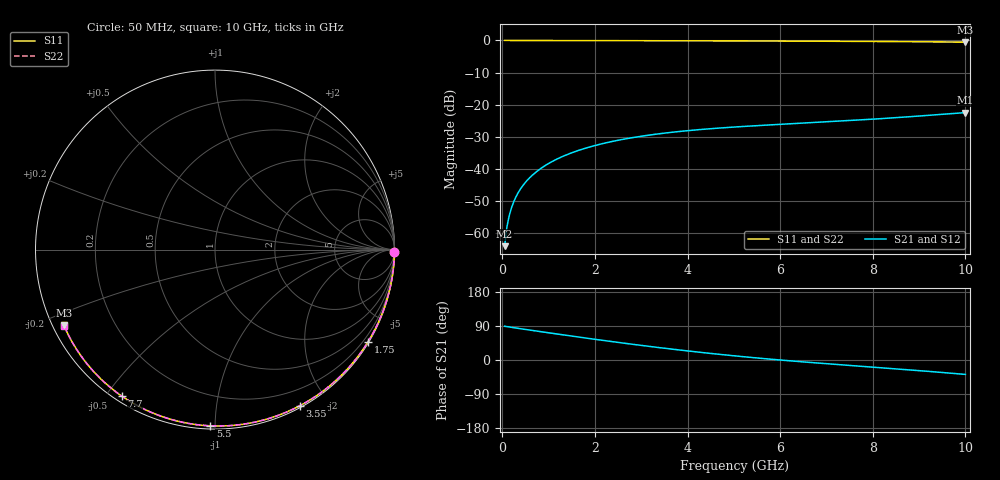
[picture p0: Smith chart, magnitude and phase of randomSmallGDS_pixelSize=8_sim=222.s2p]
! freq	dB(S11)	phase(S11)	dB(S12)	phase(S12)
!  dB(S21)	phase(S21)	dB(S22)	phase(S22)
!S-par simulation data
#  GHz  S  DB  R 50
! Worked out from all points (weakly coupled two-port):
!   200 points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, 50 MHz to 10 GHz, reference 50 ohm
!   highest |S21| = -22.49 dB at 10 GHz (marker M1); lowest = -64.1 dB at 50 MHz (marker M2)
!   lowest |S11| = -0.5 dB at 10 GHz (marker M3), VSWR 33.35, Z = 1.58 - j11.8 ohm
!   |S11| at or under -10 dB: nowhere
!   |S22| runs from -0.5 to 0.0 dB; largest |S21 - S12| = 0
!   S11 on the Smith chart (normalised r, x): 50 MHz: open; 1.75 GHz: 0.03, -3.58; 3.55 GHz: 0.02, -1.68; 5.5 GHz: 0.02, -0.97; 7.7 GHz: 0.02, -0.55; 10 GHz: 0.03, -0.24
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0.05  -0.00 -0.9  -64.14 89.0  -64.14 89.0  -0.00 -0.9
0.1  -0.00 -1.8  -58.13 88.0  -58.13 88.0  -0.00 -1.8
0.15  -0.00 -2.7  -54.61 87.1  -54.61 87.1  -0.00 -2.7
0.2  -0.00 -3.6  -52.12 86.1  -52.12 86.1  -0.00 -3.6
0.25  -0.00 -4.5  -50.19 85.2  -50.19 85.2  -0.00 -4.5
0.35  -0.00 -6.4  -47.30 83.3  -47.30 83.3  -0.00 -6.4
0.5  -0.01 -9.1  -44.24 80.6  -44.24 80.6  -0.01 -9.1
0.7  -0.01 -12.7  -41.37 77.0  -41.37 77.0  -0.01 -12.7
1  -0.02 -18.0  -38.36 71.8  -38.36 71.8  -0.02 -18.0
1.35  -0.03 -24.2  -35.88 65.7  -35.88 65.7  -0.03 -24.2
1.75  -0.04 -31.2  -33.80 58.8  -33.80 58.8  -0.04 -31.2
2.5  -0.06 -44.1  -31.12 46.4  -31.12 46.4  -0.06 -44.1
3.4  -0.08 -59.1  -29.07 32.5  -29.07 32.5  -0.08 -59.1
3.55  -0.09 -61.5  -28.81 30.3  -28.81 30.3  -0.09 -61.5
4.3  -0.11 -73.4  -27.74 19.9  -27.74 19.9  -0.11 -73.4
5.05  -0.14 -84.9  -26.95 10.5  -26.95 10.5  -0.14 -84.8
5.5  -0.16 -91.5  -26.56 5.3  -26.56 5.3  -0.16 -91.5
6.7  -0.22 -108.7  -25.63 -7.0  -25.63 -7.0  -0.22 -108.7
7.7  -0.29 -122.4  -24.82 -16.1  -24.82 -16.1  -0.29 -122.4
8.35  -0.34 -131.2  -24.22 -21.9  -24.22 -21.9  -0.34 -131.2
9.2  -0.43 -142.6  -23.36 -30.0  -23.36 -30.0  -0.43 -142.5
10  -0.52 -153.3  -22.49 -38.0  -22.49 -38.0  -0.52 -153.3
